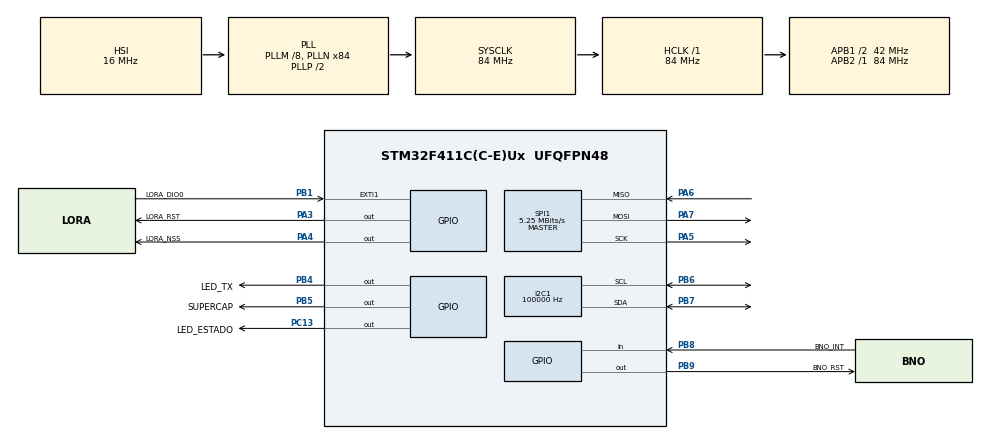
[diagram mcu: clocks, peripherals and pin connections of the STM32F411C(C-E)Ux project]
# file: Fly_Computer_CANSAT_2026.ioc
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I2C1.ClockSpeed=100000
I2C1.I2C_Mode=I2C_Standard
Mcu.Family=STM32F4
Mcu.Name=STM32F411C(C-E)Ux
Mcu.Package=UFQFPN48
NVIC.EXTI1_IRQn=true\:0\:0\:false\:false\:true\:true\:true\:true
NVIC.PriorityGroup=NVIC_PRIORITYGROUP_4
PA13.Mode=Serial_Wire
PA13.Signal=SYS_JTMS-SWDIO
PA14.Mode=Serial_Wire
PA14.Signal=SYS_JTCK-SWCLK
PA3.GPIO_Label=LORA_RST
PA3.PinState=GPIO_PIN_SET
PA3.Signal=GPIO_Output
PA4.GPIO_Label=LORA_NSS
PA4.PinState=GPIO_PIN_SET
PA4.Signal=GPIO_Output
PA5.Mode=Full_Duplex_Master
PA5.Signal=SPI1_SCK
PA6.Mode=Full_Duplex_Master
PA6.Signal=SPI1_MISO
PA7.Mode=Full_Duplex_Master
PA7.Signal=SPI1_MOSI
PB1.GPIO_Label=LORA_DIO0
PB1.GPIO_ModeDefaultEXTI=GPIO_MODE_IT_RISING
PB1.Signal=GPXTI1
PB4.GPIO_Label=LED_TX
PB4.Signal=GPIO_Output
PB5.GPIO_Label=SUPERCAP
PB5.Signal=GPIO_Output
PB6.Mode=I2C
PB6.Signal=I2C1_SCL
PB7.Mode=I2C
PB7.Signal=I2C1_SDA
PB8.GPIO_Label=BNO_INT
PB8.GPIO_PuPd=GPIO_PULLUP
PB8.Signal=GPIO_Input
PB9.GPIO_Label=BNO_RST
PB9.PinState=GPIO_PIN_SET
PB9.Signal=GPIO_Output
PC13-ANTI_TAMP.GPIO_Label=LED_ESTADO
PC13-ANTI_TAMP.PinState=GPIO_PIN_SET
PC13-ANTI_TAMP.Signal=GPIO_Output
ProjectManager.HeapSize=0x200
ProjectManager.StackSize=0x400
ProjectManager.TargetToolchain=CMake
RCC.48MHZClocksFreq_Value=42000000
RCC.AHBFreq_Value=84000000
RCC.APB1CLKDivider=RCC_HCLK_DIV2
RCC.APB1Freq_Value=42000000
RCC.APB1TimFreq_Value=84000000
RCC.APB2Freq_Value=84000000
RCC.APB2TimFreq_Value=84000000
RCC.CortexFreq_Value=84000000
RCC.HCLKFreq_Value=84000000
RCC.HSE_VALUE=25000000
RCC.HSI_VALUE=16000000
RCC.LSE_VALUE=32768
RCC.PLLM=8
RCC.PLLN=84
RCC.SYSCLKFreq_VALUE=84000000
RCC.SYSCLKSource=RCC_SYSCLKSOURCE_PLLCLK
RCC.VCOOutputFreq_Value=168000000
SPI1.BaudRatePrescaler=SPI_BAUDRATEPRESCALER_16
SPI1.CalculateBaudRate=5.25 MBits/s
SPI1.Direction=SPI_DIRECTION_2LINES
SPI1.Mode=SPI_MODE_MASTER
SPI1.VirtualType=VM_MASTER
board=custom

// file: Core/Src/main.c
/* USER CODE BEGIN Header */
/**
  ******************************************************************************
  * @file           : main.c
  * @brief          : Main program body
  ******************************************************************************
  * @attention
  *
  * Copyright (c) 2026 STMicroelectronics.
  * All rights reserved.
  *
  * This software is licensed under terms that can be found in the LICENSE file
  * in the root directory of this software component.
  * If no LICENSE file comes with this software, it is provided AS-IS.
  *
  ******************************************************************************
  */
/* USER CODE END Header */
#include "main.h"

/* USER CODE BEGIN Includes */
#include "bme280.h"
#include "bno085.h"
#include "leds.h"
#include "supercap.h"
#include "sx1278.h"
#include "telemetry.h"

/* USER CODE END Includes */

/* USER CODE BEGIN PD */
#define BME_PERIODO_MS      50    // 20 Hz: alimenta la altitud y la lógica del supercapacitor
#define BME_FALLOS_MAX      20    // 1 s fallando seguido: se reinicia el BME280
#define BME_REINTENTO_MS    1000
#define RADIO_REINTENTO_MS  2000
#define TX_PERIODO_MS       500   // un paquete LoRa cada 500 ms (~65 ms en el aire)

/* USER CODE END PD */

I2C_HandleTypeDef hi2c1;

SPI_HandleTypeDef hspi1;

/* USER CODE BEGIN PV */

// Variables para ver en vivo con el depurador (ST-Link)
volatile uint8_t  radio_ok = 0;
volatile uint8_t  bme_ok = 0;
volatile uint32_t tx_count = 0;
volatile uint32_t tx_omitidos = 0;   // la radio seguía ocupada al tocar enviar

static bme280_dato_t bme_dato;
static uint8_t  bme_iniciado = 0;
static uint8_t  bme_fallos = 0;
static supercap_t vuelo;

/* USER CODE END PV */

void SystemClock_Config(void);
static void MX_GPIO_Init(void);
static void MX_I2C1_Init(void);
static void MX_SPI1_Init(void);

/* USER CODE BEGIN 0 */

static uint8_t estado_actual(void)
{
  uint8_t e = 0;
  if (bme_ok) e |= EST_BME_OK;
  if (bno085_ok()) e |= EST_BNO_OK;
  if (vuelo.fase != SC_REFERENCIA) e |= EST_REF_OK;
  if (vuelo.fase == SC_ARMADO || vuelo.fase == SC_ACTIVADO) e |= EST_ARMADO;
  if (vuelo.fase == SC_ACTIVADO) e |= EST_SUPERCAP;
  return e;
}

static led_modo_t modo_led(void)
{
  if (!radio_ok) return LED_FALLA_RADIO;
  if (!bme_ok || !bno085_ok()) return LED_FALLA_SENSOR;
  return LED_OK;
}

void i2c1_recuperar(void)
{
  HAL_I2C_DeInit(&hi2c1);
  __HAL_RCC_I2C1_FORCE_RESET();
  __HAL_RCC_I2C1_RELEASE_RESET();
  MX_I2C1_Init();
}

static void leer_bme(uint32_t ahora)
{
  static uint32_t t_init = 0;

  if (!bme_iniciado)
  {
    bme_ok = 0;
    if (ahora - t_init >= BME_REINTENTO_MS)
    {
      t_init = ahora;
      i2c1_recuperar();
      bme_iniciado = bme280_init();
      bme_fallos = 0;
    }
    return;
  }

  if (!bme280_leer(&bme_dato))
  {
    bme_ok = 0;
    if (++bme_fallos >= BME_FALLOS_MAX)
    {
      bme_iniciado = 0;
      t_init = ahora - BME_REINTENTO_MS;  // reintentar ya
    }
    return;
  }

  bme_ok = 1;
  bme_fallos = 0;

  if (supercap_actualizar(&vuelo, bme_dato.presion))
  {
    // Activación del supercapacitor: queda encendido hasta reiniciar la placa
    HAL_GPIO_WritePin(SUPERCAP_GPIO_Port, SUPERCAP_Pin, GPIO_PIN_SET);
  }
}

static void enviar_telemetria(void)
{
  TelemetryDatos d = {0};

  d.t_ms = HAL_GetTick();
  d.estado = estado_actual();
  if (bme_ok)
  {
    d.temperatura = bme_dato.temperatura;
    d.presion = bme_dato.presion;
    d.humedad = bme_dato.humedad;
  }
  d.altitud_m = vuelo.altitud_m;
  bno085_leer(d.accel, d.gyro);

  TelemetryPacketLoRa protocolLoRa;
  telemetry_build_LoRa(&protocolLoRa, &d);

  if (sx1278_send((const uint8_t*)&protocolLoRa, sizeof(protocolLoRa)))
    tx_count++;
  else
    tx_omitidos++;
}

/* USER CODE END 0 */

int main(void)
{

  /* MCU Configuration--------------------------------------------------------*/

  /* Reset of all peripherals, Initializes the Flash interface and the Systick. */
  HAL_Init();

  /* Configure the system clock */
  SystemClock_Config();

  /* Initialize all configured peripherals */
  MX_GPIO_Init();
  MX_I2C1_Init();
  MX_SPI1_Init();
  /* USER CODE BEGIN 2 */
  leds_servicio(LED_ARRANCANDO, 0);
  supercap_init(&vuelo);

  radio_ok = sx1278_init();
  bme_iniciado = bme280_init();
  bno085_iniciar();

  uint32_t t_bme = HAL_GetTick();
  uint32_t t_tx = t_bme;
  uint32_t t_radio = t_bme;

  /* USER CODE END 2 */

  /* Infinite loop */
  /* USER CODE BEGIN WHILE */
  while (1)
  {
    uint32_t ahora = HAL_GetTick();

    bno085_servicio();
    sx1278_servicio();

    if (ahora - t_bme >= BME_PERIODO_MS)
    {
      t_bme = ahora;
      leer_bme(ahora);
    }

    if (!radio_ok && ahora - t_radio >= RADIO_REINTENTO_MS)
    {
      t_radio = ahora;
      radio_ok = sx1278_init();
    }

    if (ahora - t_tx >= TX_PERIODO_MS)
    {
      t_tx += TX_PERIODO_MS;
      if (ahora - t_tx >= TX_PERIODO_MS) t_tx = ahora;  // se atrasó: sin ráfagas
      if (radio_ok) enviar_telemetria();
    }

    leds_servicio(modo_led(), ahora);
    /* USER CODE END WHILE */

  }
}

void SystemClock_Config(void)
{
  RCC_OscInitTypeDef RCC_OscInitStruct = {0};
  RCC_ClkInitTypeDef RCC_ClkInitStruct = {0};

  /** Configure the main internal regulator output voltage
  */
  __HAL_RCC_PWR_CLK_ENABLE();
  __HAL_PWR_VOLTAGESCALING_CONFIG(PWR_REGULATOR_VOLTAGE_SCALE1);

  /** Initializes the RCC Oscillators according to the specified parameters
  * in the RCC_OscInitTypeDef structure.
  */
  RCC_OscInitStruct.OscillatorType = RCC_OSCILLATORTYPE_HSI;
  RCC_OscInitStruct.HSIState = RCC_HSI_ON;
  RCC_OscInitStruct.HSICalibrationValue = RCC_HSICALIBRATION_DEFAULT;
  RCC_OscInitStruct.PLL.PLLState = RCC_PLL_ON;
  RCC_OscInitStruct.PLL.PLLSource = RCC_PLLSOURCE_HSI;
  RCC_OscInitStruct.PLL.PLLM = 8;
  RCC_OscInitStruct.PLL.PLLN = 84;
  RCC_OscInitStruct.PLL.PLLP = RCC_PLLP_DIV2;
  RCC_OscInitStruct.PLL.PLLQ = 4;
  if (HAL_RCC_OscConfig(&RCC_OscInitStruct) != HAL_OK)
  {
    Error_Handler();
  }

  /** Initializes the CPU, AHB and APB buses clocks
  */
  RCC_ClkInitStruct.ClockType = RCC_CLOCKTYPE_HCLK|RCC_CLOCKTYPE_SYSCLK
                              |RCC_CLOCKTYPE_PCLK1|RCC_CLOCKTYPE_PCLK2;
  RCC_ClkInitStruct.SYSCLKSource = RCC_SYSCLKSOURCE_PLLCLK;
  RCC_ClkInitStruct.AHBCLKDivider = RCC_SYSCLK_DIV1;
  RCC_ClkInitStruct.APB1CLKDivider = RCC_HCLK_DIV2;
  RCC_ClkInitStruct.APB2CLKDivider = RCC_HCLK_DIV1;

  if (HAL_RCC_ClockConfig(&RCC_ClkInitStruct, FLASH_LATENCY_2) != HAL_OK)
  {
    Error_Handler();
  }
}

static void MX_I2C1_Init(void)
{

  hi2c1.Instance = I2C1;
  hi2c1.Init.ClockSpeed = 100000;
  hi2c1.Init.DutyCycle = I2C_DUTYCYCLE_2;
  hi2c1.Init.OwnAddress1 = 0;
  hi2c1.Init.AddressingMode = I2C_ADDRESSINGMODE_7BIT;
  hi2c1.Init.DualAddressMode = I2C_DUALADDRESS_DISABLE;
  hi2c1.Init.OwnAddress2 = 0;
  hi2c1.Init.GeneralCallMode = I2C_GENERALCALL_DISABLE;
  hi2c1.Init.NoStretchMode = I2C_NOSTRETCH_DISABLE;
  if (HAL_I2C_Init(&hi2c1) != HAL_OK)
  {
    Error_Handler();
  }

}

static void MX_SPI1_Init(void)
{

  /* SPI1 parameter configuration*/
  hspi1.Instance = SPI1;
  hspi1.Init.Mode = SPI_MODE_MASTER;
  hspi1.Init.Direction = SPI_DIRECTION_2LINES;
  hspi1.Init.DataSize = SPI_DATASIZE_8BIT;
  hspi1.Init.CLKPolarity = SPI_POLARITY_LOW;
  hspi1.Init.CLKPhase = SPI_PHASE_1EDGE;
  hspi1.Init.NSS = SPI_NSS_SOFT;
  hspi1.Init.BaudRatePrescaler = SPI_BAUDRATEPRESCALER_16;
  hspi1.Init.FirstBit = SPI_FIRSTBIT_MSB;
  hspi1.Init.TIMode = SPI_TIMODE_DISABLE;
  hspi1.Init.CRCCalculation = SPI_CRCCALCULATION_DISABLE;
  hspi1.Init.CRCPolynomial = 10;
  if (HAL_SPI_Init(&hspi1) != HAL_OK)
  {
    Error_Handler();
  }

}

static void MX_GPIO_Init(void)
{
  GPIO_InitTypeDef GPIO_InitStruct = {0};

  /* GPIO Ports Clock Enable */
  __HAL_RCC_GPIOC_CLK_ENABLE();
  __HAL_RCC_GPIOA_CLK_ENABLE();
  __HAL_RCC_GPIOB_CLK_ENABLE();

  /*Configure GPIO pin Output Level */
  HAL_GPIO_WritePin(LED_ESTADO_GPIO_Port, LED_ESTADO_Pin, GPIO_PIN_SET);

  /*Configure GPIO pin Output Level */
  HAL_GPIO_WritePin(GPIOA, LORA_RST_Pin|LORA_NSS_Pin, GPIO_PIN_SET);

  /*Configure GPIO pin Output Level */
  HAL_GPIO_WritePin(GPIOB, LED_TX_Pin|SUPERCAP_Pin, GPIO_PIN_RESET);

  /*Configure GPIO pin Output Level */
  HAL_GPIO_WritePin(BNO_RST_GPIO_Port, BNO_RST_Pin, GPIO_PIN_SET);

  /*Configure GPIO pin : LED_ESTADO_Pin */
  GPIO_InitStruct.Pin = LED_ESTADO_Pin;
  GPIO_InitStruct.Mode = GPIO_MODE_OUTPUT_PP;
  GPIO_InitStruct.Pull = GPIO_NOPULL;
  GPIO_InitStruct.Speed = GPIO_SPEED_FREQ_LOW;
  HAL_GPIO_Init(LED_ESTADO_GPIO_Port, &GPIO_InitStruct);

  /*Configure GPIO pins : LORA_RST_Pin LORA_NSS_Pin */
  GPIO_InitStruct.Pin = LORA_RST_Pin|LORA_NSS_Pin;
  GPIO_InitStruct.Mode = GPIO_MODE_OUTPUT_PP;
  GPIO_InitStruct.Pull = GPIO_NOPULL;
  GPIO_InitStruct.Speed = GPIO_SPEED_FREQ_LOW;
  HAL_GPIO_Init(GPIOA, &GPIO_InitStruct);

  /*Configure GPIO pin : LORA_DIO0_Pin */
  GPIO_InitStruct.Pin = LORA_DIO0_Pin;
  GPIO_InitStruct.Mode = GPIO_MODE_IT_RISING;
  GPIO_InitStruct.Pull = GPIO_NOPULL;
  HAL_GPIO_Init(LORA_DIO0_GPIO_Port, &GPIO_InitStruct);

  /*Configure GPIO pins : LED_TX_Pin SUPERCAP_Pin BNO_RST_Pin */
  GPIO_InitStruct.Pin = LED_TX_Pin|SUPERCAP_Pin|BNO_RST_Pin;
  GPIO_InitStruct.Mode = GPIO_MODE_OUTPUT_PP;
  GPIO_InitStruct.Pull = GPIO_NOPULL;
  GPIO_InitStruct.Speed = GPIO_SPEED_FREQ_LOW;
  HAL_GPIO_Init(GPIOB, &GPIO_InitStruct);

  /*Configure GPIO pin : BNO_INT_Pin */
  GPIO_InitStruct.Pin = BNO_INT_Pin;
  GPIO_InitStruct.Mode = GPIO_MODE_INPUT;
  GPIO_InitStruct.Pull = GPIO_PULLUP;
  HAL_GPIO_Init(BNO_INT_GPIO_Port, &GPIO_InitStruct);

  /* EXTI interrupt init*/
  HAL_NVIC_SetPriority(EXTI1_IRQn, 0, 0);
  HAL_NVIC_EnableIRQ(EXTI1_IRQn);

}

/* USER CODE BEGIN 4 */
void HAL_GPIO_EXTI_Callback(uint16_t GPIO_Pin)
{
  if (GPIO_Pin == LORA_DIO0_Pin) {
    sx1278_onDio0Irq();
  }
}

// printf sale por SWO (ITM) si el depurador lo habilita; si no, se descarta.
// Sin esto, syscalls.c saltaría a la dirección 0 al primer printf.
int __io_putchar(int ch)
{
  ITM_SendChar((uint32_t)ch);
  return ch;
}
/* USER CODE END 4 */

void Error_Handler(void)
{
  /* USER CODE BEGIN Error_Handler_Debug */
  /* Error fatal: LED de estado y LED de TX fijos */
  __disable_irq();
  HAL_GPIO_WritePin(LED_ESTADO_GPIO_Port, LED_ESTADO_Pin, GPIO_PIN_RESET);
  HAL_GPIO_WritePin(LED_TX_GPIO_Port, LED_TX_Pin, GPIO_PIN_SET);
  while (1)
  {
  }
  /* USER CODE END Error_Handler_Debug */
}
